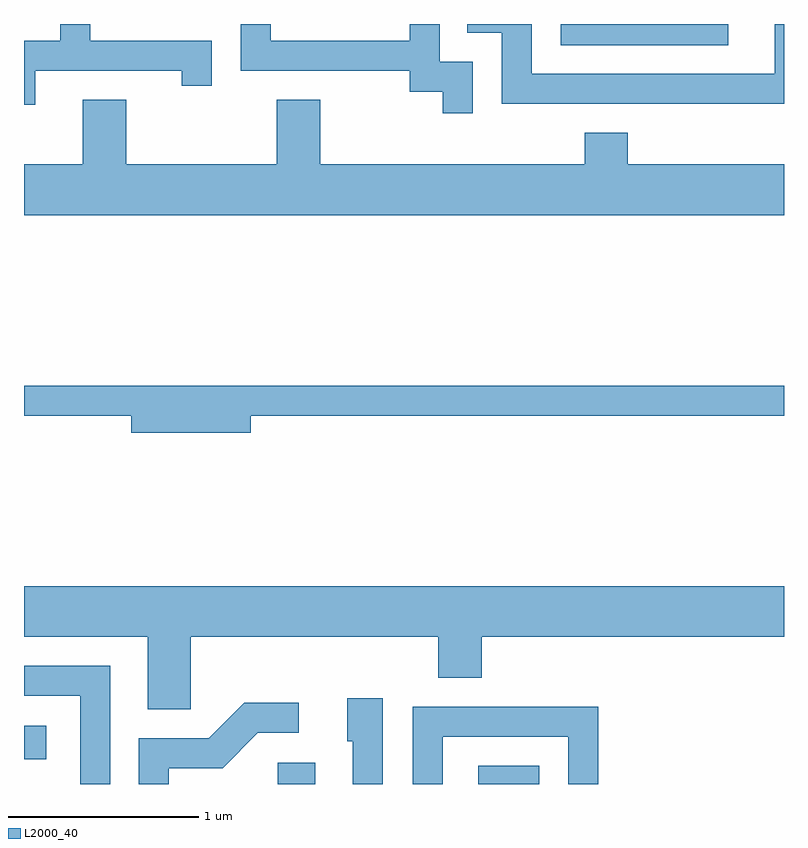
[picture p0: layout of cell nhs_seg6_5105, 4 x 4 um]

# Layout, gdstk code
import gdstk
lib = gdstk.Library(unit=1e-6, precision=1e-09)
def R(c, l, rs):  # rectangles x0, y0, x1, y1
    for r in rs: c.add(gdstk.rectangle(r[:2], r[2:], *l))
def P(c, l, *ps):  # polygons
    for p in ps: c.add(gdstk.Polygon(p, *l))
L2000_40 = (2000, 40)

nhs_seg6_5105 = lib.new_cell('nhs_seg6_5105')
R(nhs_seg6_5105, L2000_40, [(342.946,1538.162,343.144,1538.274), (344.001,1538.162,344.324,1538.259), (341.611,1538.291,341.729,1538.469), (344.436,1542.051,345.318,1542.162)])
P(nhs_seg6_5105, L2000_40, [(341.669,1541.916),(342.441,1541.916),(342.441,1541.838),(342.599,1541.838),(342.599,1542.074),(341.959,1542.074),(341.959,1542.162),(341.801,1542.162),(341.801,1542.074),(341.611,1542.074),(341.611,1541.738),(341.669,1541.738)],
  [(343.974,1541.964),(343.799,1541.964),(343.799,1542.162),(343.641,1542.162),(343.641,1542.074),(342.909,1542.074),(342.909,1542.162),(342.751,1542.162),(342.751,1541.916),(343.641,1541.916),(343.641,1541.806),(343.816,1541.806),(343.816,1541.693),(343.974,1541.693)],
  [(345.611,1542.162),(345.561,1542.162),(345.561,1541.899),(344.284,1541.899),(344.284,1542.162),(343.943,1542.162),(343.943,1542.116),(344.126,1542.116),(344.126,1541.741),(345.611,1541.741)],
  [(345.611,1541.424),(344.789,1541.424),(344.789,1541.589),(344.561,1541.589),(344.561,1541.424),(343.169,1541.424),(343.169,1541.764),(342.941,1541.764),(342.941,1541.424),(342.149,1541.424),(342.149,1541.764),(341.921,1541.764),(341.921,1541.424),(341.611,1541.424),(341.611,1541.156),(345.611,1541.156)],
  [(342.804,1540.101),(345.611,1540.101),(345.611,1540.259),(341.611,1540.259),(341.611,1540.101),(342.176,1540.101),(342.176,1540.011),(342.804,1540.011)],
  [(342.489,1538.936),(343.791,1538.936),(343.791,1538.721),(344.019,1538.721),(344.019,1538.936),(345.611,1538.936),(345.611,1539.204),(341.611,1539.204),(341.611,1538.936),(342.261,1538.936),(342.261,1538.556),(342.489,1538.556)],
  [(342.064,1538.784),(341.611,1538.784),(341.611,1538.626),(341.906,1538.626),(341.906,1538.162),(342.064,1538.162)],
  [(343.499,1538.614),(343.311,1538.614),(343.311,1538.386),(343.341,1538.386),(343.341,1538.162),(343.499,1538.162)],
  [(342.374,1538.246),(342.657,1538.246),(342.842,1538.431),(343.058,1538.431),(343.058,1538.589),(342.769,1538.589),(342.584,1538.404),(342.216,1538.404),(342.216,1538.162),(342.374,1538.162)],
  [(343.814,1538.411),(344.476,1538.411),(344.476,1538.162),(344.634,1538.162),(344.634,1538.569),(343.656,1538.569),(343.656,1538.162),(343.814,1538.162)])

lib.write_gds('nhs_seg6_5105.gds')
